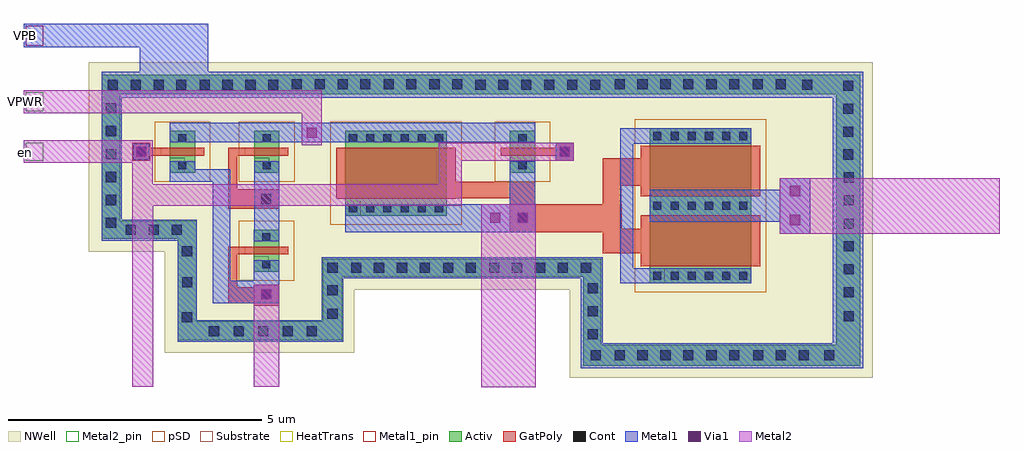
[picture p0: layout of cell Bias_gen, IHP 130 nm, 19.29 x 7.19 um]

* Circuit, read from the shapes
.subckt Bias_gen VPB VPWR en
XM1 VPWR en n1 VPB sg13_lv_pmos w=0.5u l=0.15u
XM2 n2 n1 n1 VPB sg13_lv_pmos w=0.5u l=0.15u
XM3 VPWR n2 n2 VPB sg13_lv_pmos w=0.5u l=0.15u
XM4 VPWR n3 n3 VPB sg13_lv_pmos w=2u l=1u
XM5 VPWR en n3 VPB sg13_lv_pmos w=0.5u l=0.15u
XM6 n4 n3 n5 VPB sg13_lv_pmos w=2u l=1u m=2
.ends

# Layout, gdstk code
from math import pi, radians
import gdstk
lib = gdstk.Library(unit=1e-6, precision=5e-09)
def R(c, l, rs):  # rectangles x0, y0, x1, y1
    for r in rs: c.add(gdstk.rectangle(r[:2], r[2:], *l))
def A(c, l, x, y, w, h, nx, ny, dx, dy):  # array of equal rectangles
    R(c, l, [(x+i*dx, y+j*dy, x+i*dx+w, y+j*dy+h) for i in range(nx) for j in range(ny)])
def P(c, l, *ps):  # polygons
    for p in ps: c.add(gdstk.Polygon(p, *l))
Activ = (1, 0)
GatPoly = (5, 0)
Cont = (6, 0)
Metal1 = (8, 0)
Metal1_pin = (8, 2)
Metal2 = (10, 0)
Metal2_pin = (10, 2)
pSD = (14, 0)
Via1 = (19, 0)
NWell = (31, 0)
Substrate = (40, 0)
HeatTrans = (51, 0)

pmos_1 = lib.new_cell('pmos$1')
R(pmos_1, Activ, [(0,0,0.3,0.3), (0,0,0.83,0.5), (0.53,0,0.83,0.3)])
R(pmos_1, GatPoly, [(0.34,-0.18,0.49,0.68), (0.34,-0.18,0.49,0.68)])
R(pmos_1, Cont, [(0.07,0.17,0.23,0.33), (0.6,0.17,0.76,0.33)])
R(pmos_1, Metal1, [(0.07,0,0.23,0.5), (0.07,0,0.23,0.5), (0.6,0,0.76,0.5), (0.6,0,0.76,0.5)])
R(pmos_1, pSD, [(-0.18,-0.3,1.01,0.8)])
R(pmos_1, NWell, [(-0.31,-0.31,1.14,0.81)])
R(pmos_1, Substrate, [(0.53,0,0.83,0.3)])
R(pmos_1, HeatTrans, [(0.34,-0.18,0.49,0.68)])
pmos_1.add(gdstk.Label('pmos', (0.415,0.25), layer=63, texttype=0))
pmos_1.add(gdstk.Label('pmos', (0.415,0.25), layer=51, texttype=0))

pmos_2 = lib.new_cell('pmos$2')
R(pmos_2, Activ, [(0,0,0.3,0.3), (0,0,1.68,2), (1.38,0,1.68,0.3)])
R(pmos_2, GatPoly, [(0.34,-0.18,1.34,2.18), (0.34,-0.18,1.34,2.18)])
A(pmos_2, Cont, 0.07, 0.07, 0.16, 0.16, 1, 6, 0, 0.34)
A(pmos_2, Cont, 1.45, 0.07, 0.16, 0.16, 1, 6, 0, 0.34)
R(pmos_2, Metal1, [(0.07,0,0.23,2), (0.07,0,0.23,2), (1.45,0,1.61,2), (1.45,0,1.61,2)])
R(pmos_2, pSD, [(-0.18,-0.3,1.86,2.3)])
R(pmos_2, NWell, [(-0.31,-0.31,1.99,2.31)])
R(pmos_2, Substrate, [(1.38,0,1.68,0.3)])
R(pmos_2, HeatTrans, [(0.34,-0.18,1.34,2.18)])
pmos_2.add(gdstk.Label('pmos', (0.84,1), layer=63, texttype=0))
pmos_2.add(gdstk.Label('pmos', (0.84,1), layer=51, texttype=0))

pmos = lib.new_cell('pmos')
A(pmos, Activ, 0, 0, 0.3, 0.3, 3, 1, 1.38, 0)
R(pmos, Activ, [(0,0,3.06,2)])
R(pmos, GatPoly, [(0.34,-0.18,1.34,2.18), (0.34,-0.18,1.34,2.18), (1.72,-0.18,2.72,2.18)])
A(pmos, Cont, 0.07, 0.07, 0.16, 0.16, 3, 6, 1.38, 0.34)
R(pmos, Metal1, [(0.07,0,0.23,2), (0.07,0,0.23,2), (1.45,0,1.61,2), (1.45,0,1.61,2), (2.83,0,2.99,2)])
R(pmos, pSD, [(-0.18,-0.3,3.24,2.3)])
R(pmos, NWell, [(-0.31,-0.31,3.37,2.31)])
R(pmos, Substrate, [(2.76,0,3.06,0.3)])
R(pmos, HeatTrans, [(0.34,-0.18,1.34,2.18), (1.72,-0.18,2.72,2.18)])
pmos.add(gdstk.Label('pmos', (0.84,1), layer=63, texttype=0))
pmos.add(gdstk.Label('pmos', (0.84,1), layer=51, texttype=0))
pmos.add(gdstk.Label('pmos', (2.22,1), layer=51, texttype=0))

bias_gen = lib.new_cell('Bias_gen')
P(bias_gen, Activ, [(9.515,-14.255),(9.515,-12.5),(4.75,-12.5),(4.75,-13.75),(1.5,-13.75),(1.5,-11.745),(0,-11.745),(0,-8.89),(0.37,-8.89),(0.37,-11.39),(1.875,-11.39),(1.875,-13.375),(4.37,-13.375),(4.37,-12.135),(9.875,-12.135),(9.875,-13.835),(14.51,-13.835),(14.51,-8.89),(0,-8.89),(0,-8.5),(14.99,-8.5),(14.99,-14.255)])
P(bias_gen, GatPoly, [(0.6,-10.2),(0.6,-9.85),(0.96,-9.85),(0.96,-9.95),(2.025,-9.95),(2.025,-10.1),(0.96,-10.1),(0.96,-10.2)],
  [(2.5,-11.15),(2.5,-9.95),(3.69,-9.95),(3.69,-10.1),(2.675,-10.1),(2.675,-10.765),(3.505,-10.765),(3.505,-11.15)],
  [(3.005,-13.065),(3.005,-13.015),(2.5,-13.015),(2.5,-11.905),(3.685,-11.905),(3.685,-12.055),(2.675,-12.055),(2.675,-12.705),(3.005,-12.705),(3.005,-12.65),(3.505,-12.65),(3.505,-13.065)],
  [(8.975,-10.2),(8.975,-10.1),(7.885,-10.1),(7.885,-9.95),(8.975,-9.95),(8.975,-9.85),(9.33,-9.85),(9.33,-10.2)],
  [(10.65,-12.285),(10.65,-12.035),(9.9,-12.035),(9.9,-11.62),(8.065,-11.62),(8.065,-10.94),(6.995,-10.94),(6.995,-10.95),(4.635,-10.95),(4.635,-9.95),(6.995,-9.95),(6.995,-10.615),(8.57,-10.615),(8.57,-11.06),(9.9,-11.06),(9.9,-10.15),(10.65,-10.15),(10.65,-9.905),(13.01,-9.905),(13.01,-10.905),(10.65,-10.905),(10.65,-10.7),(10.27,-10.7),(10.27,-11.06),(10.28,-11.06),(10.28,-11.55),(10.65,-11.55),(10.65,-11.285),(13.01,-11.285),(13.01,-12.285)])
A(bias_gen, Cont, 2.61, -13.67, 0.2, 0.2, 3, 1, 0.485, 0)
R(bias_gen, Cont, [(12.87,-14.15,13.07,-13.95), (13.32,-14.15,13.52,-13.95), (13.775,-14.15,13.975,-13.95), (13.775,-14.15,13.975,-13.95), (14.275,-14.15,14.475,-13.95), (9.665,-14.145,9.865,-13.945), (10.135,-14.145,10.335,-13.945), (10.585,-14.145,10.785,-13.945), (11.04,-14.145,11.24,-13.945), (11.49,-14.145,11.69,-13.945), (11.95,-14.145,12.15,-13.945), (12.4,-14.145,12.6,-13.945), (9.6,-13.73,9.8,-13.53), (2.12,-13.67,2.32,-13.47), (4.05,-13.67,4.25,-13.47), (1.585,-13.395,1.785,-13.195), (14.66,-13.375,14.86,-13.175), (4.46,-13.325,4.66,-13.125), (9.6,-13.275,9.8,-13.075), (3.155,-12.94,3.355,-12.74), (14.66,-12.9,14.86,-12.7), (4.46,-12.865,4.66,-12.665), (9.6,-12.825,9.8,-12.625), (1.59,-12.705,1.79,-12.505), (14.66,-12.45,14.86,-12.25), (4.46,-12.415,4.66,-12.215), (4.93,-12.415,5.13,-12.215), (5.38,-12.415,5.58,-12.215), (5.835,-12.415,6.035,-12.215), (6.285,-12.415,6.485,-12.215), (6.745,-12.415,6.945,-12.215), (7.195,-12.415,7.395,-12.215), (7.655,-12.415,7.855,-12.215), (8.105,-12.415,8.305,-12.215), (8.56,-12.415,8.76,-12.215), (9.01,-12.415,9.21,-12.215), (9.47,-12.415,9.67,-12.215), (1.585,-12.095,1.785,-11.895), (14.66,-11.995,14.86,-11.795), (0.475,-11.67,0.675,-11.47), (0.925,-11.67,1.125,-11.47), (1.38,-11.67,1.58,-11.47), (14.66,-11.545,14.86,-11.345), (0.085,-11.53,0.285,-11.33), (8.22,-11.43,8.42,-11.23), (14.66,-11.085,14.86,-10.885), (0.085,-11.08,0.285,-10.88), (3.155,-11.06,3.355,-10.86), (14.66,-10.635,14.86,-10.435), (0.085,-10.625,0.285,-10.425), (14.655,-10.18,14.855,-9.98), (0.085,-10.175,0.285,-9.975), (0.68,-10.125,0.88,-9.925), (9.05,-10.125,9.25,-9.925), (14.655,-9.73,14.855,-9.53), (0.085,-9.715,0.285,-9.515), (14.655,-9.275,14.855,-9.075), (0.085,-9.265,0.285,-9.065), (14.655,-8.825,14.855,-8.625), (0.12,-8.8,0.32,-8.6), (0.57,-8.8,0.77,-8.6), (1.025,-8.8,1.225,-8.6), (1.475,-8.8,1.675,-8.6), (1.935,-8.8,2.135,-8.6), (2.385,-8.8,2.585,-8.6), (2.84,-8.8,3.04,-8.6), (3.29,-8.8,3.49,-8.6), (7.385,-8.8,7.585,-8.6), (7.835,-8.8,8.035,-8.6), (8.29,-8.8,8.49,-8.6), (8.74,-8.8,8.94,-8.6), (9.2,-8.8,9.4,-8.6), (9.65,-8.8,9.85,-8.6), (13.845,-8.8,14.045,-8.6), (3.755,-8.795,3.955,-8.595), (3.755,-8.795,3.955,-8.595), (3.755,-8.795,3.955,-8.595), (4.205,-8.795,4.405,-8.595), (4.66,-8.795,4.86,-8.595), (5.11,-8.795,5.31,-8.595), (5.57,-8.795,5.77,-8.595), (6.02,-8.795,6.22,-8.595), (6.475,-8.795,6.675,-8.595), (6.925,-8.795,7.125,-8.595), (10.135,-8.795,10.335,-8.595), (10.585,-8.795,10.785,-8.595), (11.04,-8.795,11.24,-8.595), (11.49,-8.795,11.69,-8.595), (11.95,-8.795,12.15,-8.595), (12.4,-8.795,12.6,-8.595), (12.865,-8.795,13.065,-8.595), (13.315,-8.795,13.515,-8.595)])
R(bias_gen, Metal1, [(3.01,-11.795,3.505,-10.21), (8.975,-10.2,9.33,-9.85), (0.625,-10.18,0.94,-9.87), (1.345,-9.84,8.565,-9.45)])
P(bias_gen, Metal1, [(9.465,-14.3),(9.465,-12.525),(4.77,-12.525),(4.77,-13.775),(1.5,-13.775),(1.5,-11.785),(0,-11.785),(0,-8.955),(0.4,-8.955),(0.4,-11.37),(1.875,-11.37),(1.875,-13.35),(4.35,-13.35),(4.35,-12.11),(9.9,-12.11),(9.9,-13.805),(14.45,-13.805),(14.45,-8.955),(0,-8.955),(0,-8.445),(0.75,-8.445),(0.75,-7.965),(-1.545,-7.965),(-1.545,-7.495),(2.105,-7.495),(2.105,-8.445),(15.05,-8.445),(15.05,-14.3)],
  [(2.195,-13.015),(2.195,-10.62),(1.345,-10.62),(1.345,-10.21),(1.845,-10.21),(1.845,-10.37),(2.54,-10.37),(2.54,-12.575),(3.005,-12.575),(3.005,-12.165),(3.505,-12.165),(3.505,-13.015)],
  [(4.815,-11.62),(4.815,-11.06),(8.065,-11.06),(8.065,-10.21),(8.57,-10.21),(8.57,-11.62)],
  [(13.4,-11.645),(13.4,-11.41),(10.83,-11.41),(10.83,-10.78),(13.4,-10.78),(13.4,-10.55),(14,-10.55),(14,-11.645)],
  [(10.25,-12.625),(10.25,-9.56),(12.83,-9.56),(12.83,-9.87),(10.5,-9.87),(10.5,-12.325),(12.83,-12.325),(12.83,-12.625)])
R(bias_gen, Metal1_pin, [(-1.5,-7.93,-1.15,-7.54)])
R(bias_gen, Metal2, [(7.5,-14.68,8.575,-11.06), (3.005,-14.67,3.505,-12.65), (13.4,-11.645,17.74,-10.55)])
P(bias_gen, Metal2, [(0.6,-14.67),(0.6,-10.245),(-1.545,-10.245),(-1.545,-9.8),(1.01,-9.8),(1.01,-10.67),(6.66,-10.67),(6.66,-9.85),(9.33,-9.85),(9.33,-10.2),(7.115,-10.2),(7.115,-11.095),(1.015,-11.095),(1.015,-14.67)],
  [(3.95,-9.9),(3.95,-9.26),(-1.545,-9.26),(-1.545,-8.815),(4.35,-8.815),(4.35,-9.9)])
R(bias_gen, Metal2_pin, [(-1.5,-10.2,-1.15,-9.85), (-1.5,-9.23,-1.15,-8.845)])
R(bias_gen, Via1, [(3.155,-12.94,3.355,-12.74), (13.6,-11.475,13.8,-11.275), (7.675,-11.43,7.875,-11.23), (8.22,-11.43,8.42,-11.23), (13.6,-10.9,13.8,-10.7), (0.68,-10.125,0.88,-9.925), (9.05,-10.125,9.25,-9.925), (4.05,-9.75,4.25,-9.55)])
P(bias_gen, NWell, [(9.245,-14.495),(9.245,-12.75),(4.99,-12.75),(4.99,-14),(1.25,-14),(1.25,-12),(-0.255,-12),(-0.255,-8.255),(15.24,-8.255),(15.24,-14.495)])
bias_gen.add(gdstk.Reference(pmos_1, (3.01,-9.61), rotation=3*pi/2))
bias_gen.add(gdstk.Reference(pmos_1, (1.345,-9.61), rotation=3*pi/2))
bias_gen.add(gdstk.Reference(pmos_1, (3.005,-11.565), rotation=3*pi/2))
bias_gen.add(gdstk.Reference(pmos_2, (4.815,-9.61), rotation=3*pi/2))
bias_gen.add(gdstk.Reference(pmos_1, (8.065,-9.61), rotation=3*pi/2))
bias_gen.add(gdstk.Reference(pmos, (10.83,-9.565), rotation=3*pi/2))
bias_gen.add(gdstk.Label('VPB', (-1.5,-7.73), layer=8, texttype=2))
bias_gen.add(gdstk.Label('VPWR', (-1.5,-9.035), layer=10, texttype=2))
bias_gen.add(gdstk.Label('en', (-1.5,-10.035), layer=10, texttype=2))

lib.write_gds('Bias_gen.gds')
